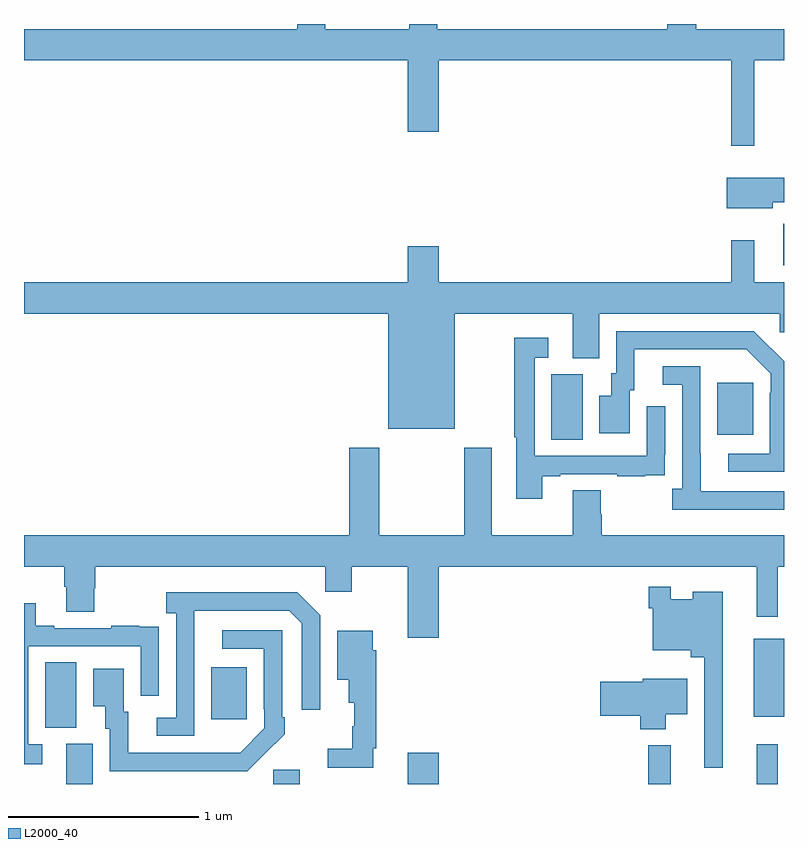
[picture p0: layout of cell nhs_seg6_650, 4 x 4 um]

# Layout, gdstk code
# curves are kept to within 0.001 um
import gdstk
lib = gdstk.Library(unit=1e-6, precision=1e-09)
def R(c, l, rs):  # rectangles x0, y0, x1, y1
    for r in rs: c.add(gdstk.rectangle(r[:2], r[2:], *l))
def P(c, l, *ps):  # polygons
    for p in ps: c.add(gdstk.Polygon(p, *l))
L2000_40 = (2000, 40)

nhs_seg6_650 = lib.new_cell('nhs_seg6_650')
R(nhs_seg6_650, L2000_40, [(151.223,971.5,151.363,971.712), (152.313,971.5,152.452,971.574), (153.02,971.5,153.184,971.665), (154.285,971.5,154.403,971.704), (154.856,971.5,154.966,971.71), (151.112,971.797,151.276,972.14), (151.985,971.841,152.173,972.115), (154.841,971.855,155,972.265), (153.776,973.312,153.94,973.656), (154.649,973.337,154.837,973.612), (154.997,974.229,155,974.449)])
P(nhs_seg6_650, L2000_40, [(154.843,975.308),(155,975.308),(155,975.472),(154.537,975.472),(154.537,975.5),(154.385,975.5),(154.385,975.472),(153.174,975.472),(153.174,975.5),(153.028,975.5),(153.028,975.472),(152.586,975.472),(152.586,975.5),(152.438,975.5),(152.438,975.472),(151,975.472),(151,975.308),(153.02,975.308),(153.02,974.934),(153.184,974.934),(153.184,975.308),(154.722,975.308),(154.722,974.859),(154.843,974.859)],
  [(154.942,974.563),(155,974.563),(155,974.692),(154.698,974.692),(154.698,974.531),(154.942,974.531)],
  [(153.268,973.976),(153.887,973.976),(153.887,973.741),(154.027,973.741),(154.027,973.976),(154.977,973.976),(154.977,973.878),(155,973.878),(155,974.14),(154.843,974.14),(154.843,974.362),(154.722,974.362),(154.722,974.14),(153.184,974.14),(153.184,974.329),(153.02,974.329),(153.02,974.14),(151,974.14),(151,973.976),(152.918,973.976),(152.918,973.37),(153.268,973.37)],
  [(155,973.726),(154.84,973.884),(154.116,973.884),(154.116,973.662),(154.091,973.662),(154.091,973.543),(154.028,973.543),(154.028,973.347),(154.189,973.347),(154.189,973.572),(154.213,973.572),(154.213,973.788),(154.801,973.788),(154.929,973.659),(154.929,973.559),(154.926,973.559),(154.926,973.239),(154.707,973.239),(154.707,973.143),(155,973.143)],
  [(153.727,973.119),(153.823,973.119),(153.823,973.131),(154.123,973.131),(154.123,973.119),(154.271,973.119),(154.271,973.125),(154.373,973.125),(154.373,973.234),(154.374,973.234),(154.374,973.489),(154.278,973.489),(154.278,973.227),(153.687,973.227),(153.687,973.743),(153.76,973.743),(153.76,973.849),(153.579,973.849),(153.579,973.324),(153.591,973.324),(153.591,973.002),(153.727,973.002)],
  [(155,973.041),(154.561,973.041),(154.561,973.241),(154.56,973.241),(154.56,973.698),(154.362,973.698),(154.362,973.602),(154.464,973.602),(154.464,973.054),(154.413,973.054),(154.413,972.944),(155,972.944)],
  [(153.184,972.644),(154.856,972.644),(154.856,972.381),(154.966,972.381),(154.966,972.644),(155,972.644),(155,972.808),(154.04,972.808),(154.04,972.921),(154.035,972.921),(154.035,973.046),(153.887,973.046),(153.887,972.808),(153.463,972.808),(153.463,973.27),(153.316,973.27),(153.316,972.808),(152.871,972.808),(152.871,973.27),(152.711,973.27),(152.711,972.808),(151,972.808),(151,972.644),(151.211,972.644),(151.211,972.538),(151.223,972.538),(151.223,972.406),(151.371,972.406),(151.371,972.531),(151.376,972.531),(151.376,972.644),(152.586,972.644),(152.586,972.513),(152.725,972.513),(152.725,972.644),(153.02,972.644),(153.02,972.27),(153.184,972.27)],
  [(154.678,972.511),(154.52,972.511),(154.52,972.472),(154.404,972.472),(154.404,972.538),(154.288,972.538),(154.288,972.425),(154.308,972.425),(154.308,972.203),(154.508,972.203),(154.508,972.167),(154.581,972.167),(154.581,971.586),(154.678,971.586)],
  [(151.896,972.211),(151.897,972.411),(152.397,972.411),(152.463,972.345),(152.463,971.892),(152.559,971.892),(152.559,972.387),(152.438,972.508),(151.749,972.508),(151.749,972.398),(151.8,972.398),(151.8,971.85),(151.698,971.85),(151.698,971.754),(151.896,971.754)],
  [(151.096,971.709),(151.023,971.709),(151.023,972.225),(151.614,972.225),(151.614,971.964),(151.71,971.964),(151.71,972.218),(151.709,972.218),(151.709,972.327),(151.607,972.327),(151.607,972.334),(151.459,972.334),(151.459,972.321),(151.159,972.321),(151.159,972.334),(151.063,972.334),(151.063,972.451),(151,972.451),(151,971.604),(151.096,971.604)],
  [(152.267,971.659),(152.268,971.658),(152.373,971.763),(152.373,971.851),(152.358,971.851),(152.358,972.309),(152.043,972.309),(152.043,972.213),(152.262,972.213),(152.262,971.893),(152.265,971.893),(152.265,971.793),(152.137,971.665),(151.549,971.664),(151.549,971.88),(151.525,971.88),(151.525,972.106),(151.364,972.106),(151.364,971.909),(151.427,971.909),(151.427,971.79),(151.452,971.79),(151.452,971.568),(152.176,971.568)],
  [(152.837,971.689),(152.855,971.689),(152.855,972.203),(152.836,972.203),(152.836,972.307),(152.648,972.307),(152.648,972.05),(152.708,972.05),(152.708,971.927),(152.738,971.927),(152.738,971.805),(152.727,971.805),(152.727,971.685),(152.598,971.685),(152.598,971.586),(152.837,971.586)],
  [(154.378,971.867),(154.492,971.867),(154.492,972.055),(154.256,972.055),(154.256,972.038),(154.032,972.038),(154.032,971.86),(154.244,971.86),(154.244,971.789),(154.378,971.789)])

lib.write_gds('nhs_seg6_650.gds')
